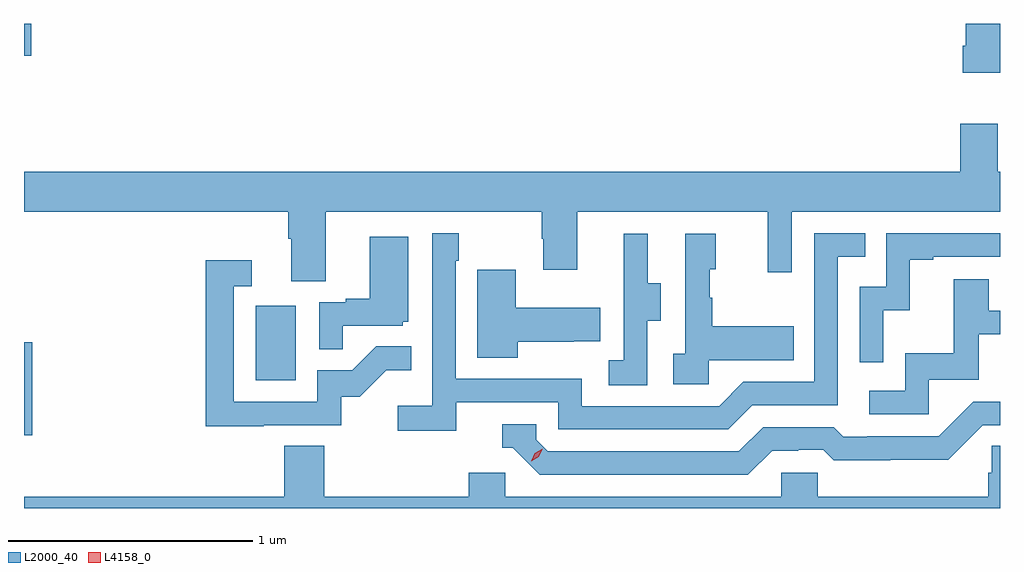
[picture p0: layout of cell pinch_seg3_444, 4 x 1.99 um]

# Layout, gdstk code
import gdstk
lib = gdstk.Library(unit=1e-6, precision=1e-09)
def R(c, l, rs):  # rectangles x0, y0, x1, y1
    for r in rs: c.add(gdstk.rectangle(r[:2], r[2:], *l))
def P(c, l, *ps):  # polygons
    for p in ps: c.add(gdstk.Polygon(p, *l))
L2000_40 = (2000, 40)
L4158_0 = (4158, 0)

pinch_seg3_444 = lib.new_cell('pinch_seg3_444')
R(pinch_seg3_444, L2000_40, [(921.835,666.699,921.869,667.08), (922.784,666.924,922.948,667.231), (921.835,668.254,921.865,668.386)])
P(pinch_seg3_444, L2000_40, [(925.835,668.386),(925.694,668.386),(925.694,668.296),(925.682,668.296),(925.682,668.184),(925.835,668.184)],
  [(923.071,667.616),(923.956,667.616),(923.956,667.505),(923.963,667.505),(923.963,667.377),(924.103,667.377),(924.103,667.616),(924.884,667.616),(924.884,667.368),(924.981,667.368),(924.981,667.616),(925.835,667.616),(925.835,667.78),(925.825,667.78),(925.825,667.975),(925.673,667.975),(925.673,667.78),(921.835,667.78),(921.835,667.616),(922.919,667.616),(922.919,667.504),(922.931,667.504),(922.931,667.33),(923.071,667.33)],
  [(923.606,666.834),(924.024,666.834),(924.024,666.723),(924.721,666.723),(924.82,666.822),(925.17,666.822),(925.17,667.431),(925.283,667.431),(925.283,667.527),(925.074,667.527),(925.074,666.918),(924.783,666.918),(924.684,666.819),(924.12,666.819),(924.12,666.93),(923.604,666.93),(923.604,667.415),(923.617,667.415),(923.617,667.528),(923.508,667.528),(923.508,666.82),(923.367,666.82),(923.367,666.718),(923.606,666.718)],
  [(925.356,667.211),(925.466,667.211),(925.466,667.419),(925.561,667.419),(925.561,667.431),(925.835,667.431),(925.835,667.527),(925.368,667.527),(925.368,667.308),(925.26,667.308),(925.26,666.999),(925.356,666.999)],
  [(924.642,667.007),(924.989,667.007),(924.989,667.147),(924.655,667.147),(924.655,667.262),(924.645,667.262),(924.645,667.38),(924.67,667.38),(924.67,667.525),(924.546,667.525),(924.546,667.034),(924.495,667.034),(924.495,666.909),(924.642,666.909)],
  [(924.39,667.168),(924.445,667.168),(924.445,667.323),(924.391,667.323),(924.391,667.525),(924.293,667.525),(924.293,667.311),(924.294,667.311),(924.294,667.007),(924.231,667.007),(924.231,666.904),(924.39,666.904)],
  [(923.141,667.149),(923.388,667.149),(923.388,667.164),(923.41,667.164),(923.41,667.513),(923.252,667.513),(923.252,667.258),(923.153,667.258),(923.153,667.245),(923.046,667.245),(923.046,667.051),(923.141,667.051)],
  [(922.817,666.741),(923.136,666.741),(923.136,666.858),(923.212,666.858),(923.319,666.965),(923.423,666.965),(923.423,667.064),(923.279,667.064),(923.181,666.966),(923.037,666.966),(923.037,666.837),(922.695,666.837),(922.695,667.311),(922.768,667.311),(922.768,667.417),(922.579,667.417),(922.579,666.736),(922.817,666.736)],
  [(923.859,667.082),(924.089,667.082),(924.089,667.085),(924.197,667.085),(924.197,667.222),(923.851,667.222),(923.851,667.378),(923.693,667.378),(923.693,667.017),(923.859,667.017)],
  [(925.542,666.927),(925.747,666.927),(925.747,667.113),(925.835,667.113),(925.835,667.209),(925.789,667.209),(925.789,667.339),(925.645,667.339),(925.645,667.036),(925.446,667.036),(925.446,666.882),(925.299,666.882),(925.299,666.786),(925.542,666.786)],
  [(924.901,666.636),(925.008,666.636),(925.008,666.639),(925.111,666.639),(925.153,666.597),(925.386,666.597),(925.386,666.599),(925.622,666.599),(925.764,666.741),(925.835,666.741),(925.835,666.837),(925.725,666.837),(925.584,666.696),(925.291,666.696),(925.291,666.693),(925.192,666.693),(925.153,666.732),(924.864,666.732),(924.765,666.633),(923.982,666.633),(923.934,666.681),(923.934,666.744),(923.795,666.744),(923.795,666.648),(923.838,666.648),(923.949,666.537),(924.802,666.537)],
  [(925.835,666.656),(925.801,666.656),(925.801,666.546),(925.787,666.546),(925.787,666.448),(925.089,666.448),(925.089,666.546),(924.939,666.546),(924.939,666.448),(923.808,666.448),(923.808,666.546),(923.657,666.546),(923.657,666.448),(923.066,666.448),(923.066,666.656),(922.901,666.656),(922.901,666.448),(921.835,666.448),(921.835,666.4),(925.835,666.4)])
P(pinch_seg3_444, L4158_0, [(923.913,666.593),(923.913,666.593),(923.929,666.626),(923.96,666.645),(923.96,666.645),(923.96,666.645),(923.944,666.612),(923.913,666.593)])

lib.write_gds('pinch_seg3_444.gds')
